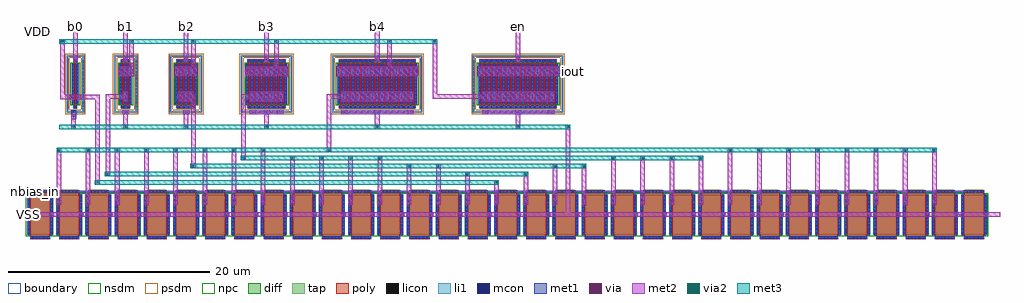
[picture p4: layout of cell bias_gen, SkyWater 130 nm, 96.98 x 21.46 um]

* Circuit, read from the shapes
.subckt bias_gen VDD VSS b0 b1 b2 b3 b4 en iout nbias_in
XM1 VSS nbias_in VSS VSS sky130_fd_pr__nfet_01v8 w=4 l=2 m=2
XM2 VSS nbias_in bg_n4_l2_0/D VSS sky130_fd_pr__nfet_01v8 w=4 l=2 m=16
XM3 bg_n4_l2_13/D b0 bg_sw16_w_37/D VSS sky130_fd_pr__nfet_01v8 w=4 l=0.15
XM4 bg_n4_l2_14/D b1 bg_sw16_w_37/D VSS sky130_fd_pr__nfet_01v8 w=4 l=0.15 m=2
XM5 bg_n4_l2_15/D b2 bg_sw16_w_37/D VSS sky130_fd_pr__nfet_01v8 w=4 l=0.15 m=4
XM6 bg_n4_l2_10/D b3 bg_sw16_w_37/D VSS sky130_fd_pr__nfet_01v8 w=4 l=0.15 m=8
XM7 VSS nbias_in bg_n4_l2_10/D VSS sky130_fd_pr__nfet_01v8 w=4 l=2 m=8
XM8 bg_n4_l2_0/D b4 bg_sw16_w_37/D VSS sky130_fd_pr__nfet_01v8 w=4 l=0.15 m=16
XM9 VSS nbias_in bg_n4_l2_15/D VSS sky130_fd_pr__nfet_01v8 w=4 l=2 m=4
XM10 VSS nbias_in bg_n4_l2_14/D VSS sky130_fd_pr__nfet_01v8 w=4 l=2 m=2
XM11 bg_sw16_w_37/D en iout VSS sky130_fd_pr__nfet_01v8 w=4 l=0.15 m=16
XM12 VSS nbias_in bg_n4_l2_13/D VSS sky130_fd_pr__nfet_01v8 w=4 l=2
.ends

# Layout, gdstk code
import gdstk
lib = gdstk.Library(unit=1e-6, precision=1e-09)
def R(c, l, rs):  # rectangles x0, y0, x1, y1
    for r in rs: c.add(gdstk.rectangle(r[:2], r[2:], *l))
def A(c, l, x, y, w, h, nx, ny, dx, dy):  # array of equal rectangles
    R(c, l, [(x+i*dx, y+j*dy, x+i*dx+w, y+j*dy+h) for i in range(nx) for j in range(ny)])
diff = (65, 20)
tap = (65, 44)
poly = (66, 20)
licon = (66, 44)
li1 = (67, 20)
mcon = (67, 44)
met1 = (68, 20)
via = (68, 44)
met2 = (69, 20)
via2 = (69, 44)
met3 = (70, 20)
nsdm = (93, 44)
psdm = (94, 20)
npc = (95, 20)
boundary = (235, 4)

bg_n4_l2 = lib.new_cell('bg_n4_l2')
R(bg_n4_l2, diff, [(-1.29,-2,1.29,2)])
R(bg_n4_l2, poly, [(-1,-2.44,1,2.44)])
A(bg_n4_l2, licon, -0.765, -2.36, 0.17, 0.17, 5, 2, 0.34, 4.55)
A(bg_n4_l2, licon, -1.23, -1.785, 0.17, 0.17, 1, 11, 0, 0.34)
A(bg_n4_l2, licon, 1.06, -1.785, 0.17, 0.17, 1, 11, 0, 0.34)
R(bg_n4_l2, li1, [(-1,-2.36,1,-2.19), (-1.23,-2.02,-1.06,2.02), (1.06,-2.02,1.23,2.02), (-1,2.19,1,2.36)])
A(bg_n4_l2, mcon, -0.805, -2.36, 0.17, 0.17, 5, 2, 0.36, 4.55)
A(bg_n4_l2, mcon, -1.23, -1.885, 0.17, 0.17, 1, 11, 0, 0.36)
A(bg_n4_l2, mcon, 1.06, -1.885, 0.17, 0.17, 1, 11, 0, 0.36)
R(bg_n4_l2, met1, [(-0.98,-2.39,0.98,-2.16), (-1.26,-2,-1.03,2), (1.03,-2,1.26,2), (-0.98,2.16,0.98,2.39)])
R(bg_n4_l2, nsdm, [(-1.415,-2.125,1.415,2.125)])
R(bg_n4_l2, npc, [(-0.865,-2.46,0.865,-2.09), (-0.865,2.09,0.865,2.46)])
bg_n4_l2.add(gdstk.Label('D', (-1.145,0), layer=67, texttype=5))
bg_n4_l2.add(gdstk.Label('S', (1.145,0), layer=67, texttype=5))
bg_n4_l2.add(gdstk.Label('G', (0,2.275), layer=67, texttype=5))

bg_sw2 = lib.new_cell('bg_sw2')
R(bg_sw2, diff, [(-0.625,-2,0.625,2)])
R(bg_sw2, tap, [(-1.135,-2.87,1.135,-2.7), (-1.135,-2.7,-0.965,2.7), (0.965,-2.7,1.135,2.7), (-1.135,2.7,1.135,2.87)])
R(bg_sw2, poly, [(-0.48,-2.44,0.48,-2.11), (-0.315,-2.11,-0.165,2.11), (0.165,-2.11,0.315,2.11), (-0.48,2.11,0.48,2.44)])
A(bg_sw2, licon, -0.595, -2.87, 0.17, 0.17, 4, 2, 0.34, 5.57)
A(bg_sw2, licon, -1.135, -2.295, 0.17, 0.17, 1, 14, 0, 0.34)
A(bg_sw2, licon, 0.965, -2.295, 0.17, 0.17, 1, 14, 0, 0.34)
A(bg_sw2, licon, -0.565, -1.785, 0.17, 0.17, 3, 11, 0.48, 0.34)
R(bg_sw2, licon, [(-0.325,-2.36,-0.155,-2.19), (0.155,-2.36,0.325,-2.19), (-0.325,2.19,-0.155,2.36), (0.155,2.19,0.325,2.36)])
A(bg_sw2, li1, -0.565, -2.02, 0.17, 4.04, 3, 1, 0.48, 0)
R(bg_sw2, li1, [(-1.135,-2.87,1.135,-2.7), (-1.135,-2.7,-0.965,2.7), (0.965,-2.7,1.135,2.7), (-0.48,-2.36,0.48,-2.19), (-0.48,2.19,0.48,2.36), (-1.135,2.7,1.135,2.87)])
A(bg_sw2, mcon, -0.565, -1.885, 0.17, 0.17, 3, 11, 0.48, 0.36)
R(bg_sw2, mcon, [(-0.325,-2.36,-0.155,-2.19), (0.155,-2.36,0.325,-2.19), (-0.325,2.19,-0.155,2.36), (0.155,2.19,0.325,2.36)])
A(bg_sw2, met1, -0.595, -2, 0.23, 4, 3, 1, 0.48, 0)
R(bg_sw2, met1, [(-0.385,-2.39,-0.095,-2.36), (0.095,-2.39,0.385,-2.36), (-0.48,-2.36,0.48,-2.19), (-0.385,-2.19,-0.095,-2.16), (0.095,-2.19,0.385,-2.16), (-0.385,2.16,-0.095,2.19), (0.095,2.16,0.385,2.19), (-0.48,2.19,0.48,2.36), (-0.385,2.36,-0.095,2.39), (0.095,2.36,0.385,2.39)])
R(bg_sw2, nsdm, [(-0.75,-2.125,0.75,2.125)])
R(bg_sw2, psdm, [(-1.26,-2.995,1.26,-2.575), (-1.26,-2.575,-0.84,2.575), (0.84,-2.575,1.26,2.575), (-1.26,2.575,1.26,2.995)])
R(bg_sw2, npc, [(-0.425,-2.46,0.425,-2.09), (-0.425,2.09,0.425,2.46)])
R(bg_sw2, boundary, [(-1.05,-2.785,1.05,2.785)])
bg_sw2.add(gdstk.Label('B', (0,-2.785), layer=67, texttype=5))
bg_sw2.add(gdstk.Label('D0', (-0.48,0), layer=67, texttype=5))
bg_sw2.add(gdstk.Label('G', (0.24,2.275), layer=67, texttype=5))
bg_sw2.add(gdstk.Label('G', (-0.24,2.275), layer=67, texttype=5))
bg_sw2.add(gdstk.Label('S1', (0,0), layer=67, texttype=5))

bg_sw2_w = lib.new_cell('bg_sw2_w')
R(bg_sw2_w, li1, [(-0.225,-2.87,0.225,-2.7)])
R(bg_sw2_w, mcon, [(-0.085,-2.87,0.085,-2.7)])
R(bg_sw2_w, met1, [(-0.3,-3.01,0.3,-2.56), (-0.225,-1.475,0.225,-1.025), (-0.705,1.025,-0.255,1.475), (0.255,1.025,0.705,1.475), (-0.225,2.16,0.225,2.655)])
R(bg_sw2_w, via, [(-0.075,-2.86,0.075,-2.71), (-0.075,-1.325,0.075,-1.175), (-0.555,1.175,-0.405,1.325), (0.405,1.175,0.555,1.325), (-0.075,2.33,0.075,2.48)])
R(bg_sw2_w, met2, [(-0.3,-3.01,0.3,-2.56), (-0.225,-1.75,0.225,-0.75), (-0.705,0.75,0.705,1.75), (-0.225,2.155,0.225,2.655)])
bg_sw2_w.add(gdstk.Reference(bg_sw2, (0,0)))
bg_sw2_w.add(gdstk.Label('D', (-0.48,1.25), layer=69, texttype=5))
bg_sw2_w.add(gdstk.Label('S', (0,-1.25), layer=69, texttype=5))
bg_sw2_w.add(gdstk.Label('G', (0,2.405), layer=69, texttype=5))
bg_sw2_w.add(gdstk.Label('B', (0,-2.785), layer=69, texttype=5))

bg_sw1 = lib.new_cell('bg_sw1')
R(bg_sw1, diff, [(-0.365,-2,0.365,2)])
R(bg_sw1, tap, [(-0.875,-2.87,0.875,-2.7), (-0.875,-2.7,-0.705,2.7), (0.705,-2.7,0.875,2.7), (-0.875,2.7,0.875,2.87)])
R(bg_sw1, poly, [(-0.165,-2.44,0.165,-2.11), (-0.075,-2.11,0.075,2.11), (-0.165,2.11,0.165,2.44)])
A(bg_sw1, licon, -0.875, -2.295, 0.17, 0.17, 1, 14, 0, 0.34)
A(bg_sw1, licon, 0.705, -2.295, 0.17, 0.17, 1, 14, 0, 0.34)
A(bg_sw1, licon, -0.305, -1.785, 0.17, 0.17, 1, 11, 0, 0.34)
A(bg_sw1, licon, 0.135, -1.785, 0.17, 0.17, 1, 11, 0, 0.34)
R(bg_sw1, licon, [(-0.255,-2.87,-0.085,-2.7), (0.085,-2.87,0.255,-2.7), (-0.085,-2.36,0.085,-2.19), (-0.085,2.19,0.085,2.36), (-0.255,2.7,-0.085,2.87), (0.085,2.7,0.255,2.87)])
R(bg_sw1, li1, [(-0.875,-2.87,0.875,-2.7), (-0.875,-2.7,-0.705,2.7), (0.705,-2.7,0.875,2.7), (-0.165,-2.36,0.165,-2.19), (-0.305,-2.02,-0.135,2.02), (0.135,-2.02,0.305,2.02), (-0.165,2.19,0.165,2.36), (-0.875,2.7,0.875,2.87)])
A(bg_sw1, mcon, -0.305, -1.885, 0.17, 0.17, 1, 11, 0, 0.36)
A(bg_sw1, mcon, 0.135, -1.885, 0.17, 0.17, 1, 11, 0, 0.36)
R(bg_sw1, mcon, [(-0.085,-2.36,0.085,-2.19), (-0.085,2.19,0.085,2.36)])
R(bg_sw1, met1, [(-0.145,-2.39,0.145,-2.16), (-0.335,-2,-0.105,2), (0.105,-2,0.335,2), (-0.145,2.16,0.145,2.39)])
R(bg_sw1, nsdm, [(-0.49,-2.125,0.49,2.125)])
R(bg_sw1, psdm, [(-1,-2.995,1,-2.575), (-1,-2.575,-0.58,2.575), (0.58,-2.575,1,2.575), (-1,2.575,1,2.995)])
R(bg_sw1, npc, [(-0.185,-2.46,0.185,-2.09), (-0.185,2.09,0.185,2.46)])
R(bg_sw1, boundary, [(-0.79,-2.785,0.79,2.785)])
bg_sw1.add(gdstk.Label('B', (0,-2.785), layer=67, texttype=5))
bg_sw1.add(gdstk.Label('D', (-0.22,0), layer=67, texttype=5))
bg_sw1.add(gdstk.Label('S', (0.22,0), layer=67, texttype=5))
bg_sw1.add(gdstk.Label('G', (0,2.275), layer=67, texttype=5))

bg_sw4 = lib.new_cell('bg_sw4')
R(bg_sw4, diff, [(-1.105,-2,1.105,2)])
R(bg_sw4, tap, [(-1.615,-2.87,1.615,-2.7), (-1.615,-2.7,-1.445,2.7), (1.445,-2.7,1.615,2.7), (-1.615,2.7,1.615,2.87)])
A(bg_sw4, poly, -0.795, -2.11, 0.15, 4.22, 4, 1, 0.48, 0)
R(bg_sw4, poly, [(-0.96,-2.44,0.96,-2.11), (-0.96,2.11,0.96,2.44)])
A(bg_sw4, licon, -1.105, -2.87, 0.17, 0.17, 7, 2, 0.34, 5.57)
A(bg_sw4, licon, -0.805, -2.36, 0.17, 0.17, 4, 2, 0.48, 4.55)
A(bg_sw4, licon, -1.615, -2.295, 0.17, 0.17, 1, 14, 0, 0.34)
A(bg_sw4, licon, 1.445, -2.295, 0.17, 0.17, 1, 14, 0, 0.34)
A(bg_sw4, licon, -1.045, -1.785, 0.17, 0.17, 5, 11, 0.48, 0.34)
A(bg_sw4, li1, -1.045, -2.02, 0.17, 4.04, 5, 1, 0.48, 0)
R(bg_sw4, li1, [(-1.615,-2.87,1.615,-2.7), (-1.615,-2.7,-1.445,2.7), (1.445,-2.7,1.615,2.7), (-0.96,-2.36,0.96,-2.19), (-0.96,2.19,0.96,2.36), (-1.615,2.7,1.615,2.87)])
A(bg_sw4, mcon, -0.805, -2.36, 0.17, 0.17, 4, 2, 0.48, 4.55)
A(bg_sw4, mcon, -1.045, -1.885, 0.17, 0.17, 5, 11, 0.48, 0.36)
A(bg_sw4, met1, -0.865, -2.39, 0.29, 0.03, 4, 2, 0.48, 0.2)
A(bg_sw4, met1, -1.075, -2, 0.23, 4, 5, 1, 0.48, 0)
A(bg_sw4, met1, -0.865, 2.16, 0.29, 0.03, 4, 2, 0.48, 0.2)
R(bg_sw4, met1, [(-0.96,-2.36,0.96,-2.19), (-0.96,2.19,0.96,2.36)])
R(bg_sw4, nsdm, [(-1.23,-2.125,1.23,2.125)])
R(bg_sw4, psdm, [(-1.74,-2.995,1.74,-2.575), (-1.74,-2.575,-1.32,2.575), (1.32,-2.575,1.74,2.575), (-1.74,2.575,1.74,2.995)])
R(bg_sw4, npc, [(-0.905,-2.46,0.905,-2.09), (-0.905,2.09,0.905,2.46)])
R(bg_sw4, boundary, [(-1.53,-2.785,1.53,2.785)])
bg_sw4.add(gdstk.Label('B', (0,-2.785), layer=67, texttype=5))
bg_sw4.add(gdstk.Label('D0', (-0.96,0), layer=67, texttype=5))
bg_sw4.add(gdstk.Label('G', (0.72,2.275), layer=67, texttype=5))
bg_sw4.add(gdstk.Label('G', (0.24,2.275), layer=67, texttype=5))
bg_sw4.add(gdstk.Label('G', (-0.24,2.275), layer=67, texttype=5))
bg_sw4.add(gdstk.Label('G', (-0.72,2.275), layer=67, texttype=5))
bg_sw4.add(gdstk.Label('S1', (-0.48,0), layer=67, texttype=5))
bg_sw4.add(gdstk.Label('D2', (0,0), layer=67, texttype=5))
bg_sw4.add(gdstk.Label('S3', (0.48,0), layer=67, texttype=5))

bg_sw4_w = lib.new_cell('bg_sw4_w')
R(bg_sw4_w, li1, [(-0.225,-2.87,0.225,-2.7)])
R(bg_sw4_w, mcon, [(-0.085,-2.87,0.085,-2.7)])
A(bg_sw4_w, met1, -1.185, 1.025, 0.45, 0.45, 3, 1, 0.96, 0)
R(bg_sw4_w, met1, [(-0.3,-3.01,0.3,-2.56), (-0.705,-1.475,-0.255,-1.025), (0.255,-1.475,0.705,-1.025), (-0.225,2.16,0.225,2.655)])
A(bg_sw4_w, via, -1.035, 1.175, 0.15, 0.15, 3, 1, 0.96, 0)
R(bg_sw4_w, via, [(-0.075,-2.86,0.075,-2.71), (-0.555,-1.325,-0.405,-1.175), (0.405,-1.325,0.555,-1.175), (-0.075,2.33,0.075,2.48)])
R(bg_sw4_w, met2, [(-0.3,-3.01,0.3,-2.56), (-0.705,-1.75,0.705,-0.75), (-1.185,0.75,1.185,1.75), (-0.225,2.155,0.225,2.655)])
bg_sw4_w.add(gdstk.Reference(bg_sw4, (0,0)))
bg_sw4_w.add(gdstk.Label('D', (-0.96,1.25), layer=69, texttype=5))
bg_sw4_w.add(gdstk.Label('S', (-0.48,-1.25), layer=69, texttype=5))
bg_sw4_w.add(gdstk.Label('G', (0,2.405), layer=69, texttype=5))
bg_sw4_w.add(gdstk.Label('B', (0,-2.785), layer=69, texttype=5))

bg_sw8 = lib.new_cell('bg_sw8')
R(bg_sw8, diff, [(-2.065,-2,2.065,2)])
R(bg_sw8, tap, [(-2.575,-2.87,2.575,-2.7), (-2.575,-2.7,-2.405,2.7), (2.405,-2.7,2.575,2.7), (-2.575,2.7,2.575,2.87)])
A(bg_sw8, poly, -1.755, -2.11, 0.15, 4.22, 8, 1, 0.48, 0)
R(bg_sw8, poly, [(-1.92,-2.44,1.92,-2.11), (-1.92,2.11,1.92,2.44)])
A(bg_sw8, licon, -1.955, -2.87, 0.17, 0.17, 12, 2, 0.34, 5.57)
A(bg_sw8, licon, -1.765, -2.36, 0.17, 0.17, 8, 2, 0.48, 4.55)
A(bg_sw8, licon, -2.575, -2.295, 0.17, 0.17, 1, 14, 0, 0.34)
A(bg_sw8, licon, 2.405, -2.295, 0.17, 0.17, 1, 14, 0, 0.34)
A(bg_sw8, licon, -2.005, -1.785, 0.17, 0.17, 9, 11, 0.48, 0.34)
A(bg_sw8, li1, -2.005, -2.02, 0.17, 4.04, 9, 1, 0.48, 0)
R(bg_sw8, li1, [(-2.575,-2.87,2.575,-2.7), (-2.575,-2.7,-2.405,2.7), (2.405,-2.7,2.575,2.7), (-1.92,-2.36,1.92,-2.19), (-1.92,2.19,1.92,2.36), (-2.575,2.7,2.575,2.87)])
A(bg_sw8, mcon, -1.765, -2.36, 0.17, 0.17, 8, 2, 0.48, 4.55)
A(bg_sw8, mcon, -2.005, -1.885, 0.17, 0.17, 9, 11, 0.48, 0.36)
A(bg_sw8, met1, -1.825, -2.39, 0.29, 0.03, 8, 2, 0.48, 0.2)
A(bg_sw8, met1, -2.035, -2, 0.23, 4, 9, 1, 0.48, 0)
A(bg_sw8, met1, -1.825, 2.16, 0.29, 0.03, 8, 2, 0.48, 0.2)
R(bg_sw8, met1, [(-1.92,-2.36,1.92,-2.19), (-1.92,2.19,1.92,2.36)])
R(bg_sw8, nsdm, [(-2.19,-2.125,2.19,2.125)])
R(bg_sw8, psdm, [(-2.7,-2.995,2.7,-2.575), (-2.7,-2.575,-2.28,2.575), (2.28,-2.575,2.7,2.575), (-2.7,2.575,2.7,2.995)])
R(bg_sw8, npc, [(-1.865,-2.46,1.865,-2.09), (-1.865,2.09,1.865,2.46)])
R(bg_sw8, boundary, [(-2.49,-2.785,2.49,2.785)])
bg_sw8.add(gdstk.Label('B', (0,-2.785), layer=67, texttype=5))
bg_sw8.add(gdstk.Label('D0', (-1.92,0), layer=67, texttype=5))
bg_sw8.add(gdstk.Label('G', (1.68,2.275), layer=67, texttype=5))
bg_sw8.add(gdstk.Label('G', (1.2,2.275), layer=67, texttype=5))
bg_sw8.add(gdstk.Label('G', (0.72,2.275), layer=67, texttype=5))
bg_sw8.add(gdstk.Label('G', (0.24,2.275), layer=67, texttype=5))
bg_sw8.add(gdstk.Label('G', (-0.24,2.275), layer=67, texttype=5))
bg_sw8.add(gdstk.Label('G', (-0.72,2.275), layer=67, texttype=5))
bg_sw8.add(gdstk.Label('G', (-1.2,2.275), layer=67, texttype=5))
bg_sw8.add(gdstk.Label('G', (-1.68,2.275), layer=67, texttype=5))
bg_sw8.add(gdstk.Label('S1', (-1.44,0), layer=67, texttype=5))
bg_sw8.add(gdstk.Label('D2', (-0.96,0), layer=67, texttype=5))
bg_sw8.add(gdstk.Label('S3', (-0.48,0), layer=67, texttype=5))
bg_sw8.add(gdstk.Label('D4', (0,0), layer=67, texttype=5))
bg_sw8.add(gdstk.Label('S5', (0.48,0), layer=67, texttype=5))
bg_sw8.add(gdstk.Label('D6', (0.96,0), layer=67, texttype=5))
bg_sw8.add(gdstk.Label('S7', (1.44,0), layer=67, texttype=5))

bg_sw8_w = lib.new_cell('bg_sw8_w')
A(bg_sw8_w, li1, -1.57, -2.87, 0.45, 0.17, 3, 1, 1.345, 0)
A(bg_sw8_w, mcon, -1.43, -2.87, 0.17, 0.17, 3, 1, 1.345, 0)
A(bg_sw8_w, met1, -1.645, -3.01, 0.6, 0.45, 3, 1, 1.345, 0)
A(bg_sw8_w, met1, -1.665, -1.475, 0.45, 0.45, 4, 1, 0.96, 0)
A(bg_sw8_w, met1, -2.145, 1.025, 0.45, 0.45, 5, 1, 0.96, 0)
R(bg_sw8_w, met1, [(-0.225,2.16,0.225,2.655)])
A(bg_sw8_w, via, -1.42, -2.86, 0.15, 0.15, 3, 1, 1.345, 0)
A(bg_sw8_w, via, -1.515, -1.325, 0.15, 0.15, 4, 1, 0.96, 0)
A(bg_sw8_w, via, -1.995, 1.175, 0.15, 0.15, 5, 1, 0.96, 0)
R(bg_sw8_w, via, [(-0.075,2.33,0.075,2.48)])
R(bg_sw8_w, met2, [(-1.645,-3.01,1.645,-2.56), (-1.665,-1.75,1.665,-0.75), (-2.145,0.75,2.145,1.75), (-0.225,2.155,0.225,2.655)])
bg_sw8_w.add(gdstk.Reference(bg_sw8, (0,0)))
bg_sw8_w.add(gdstk.Label('D', (-1.92,1.25), layer=69, texttype=5))
bg_sw8_w.add(gdstk.Label('S', (-1.44,-1.25), layer=69, texttype=5))
bg_sw8_w.add(gdstk.Label('G', (0,2.405), layer=69, texttype=5))
bg_sw8_w.add(gdstk.Label('B', (-1.345,-2.785), layer=69, texttype=5))

bg_sw16 = lib.new_cell('bg_sw16')
R(bg_sw16, diff, [(-3.985,-2,3.985,2)])
R(bg_sw16, tap, [(-4.495,-2.87,4.495,-2.7), (-4.495,-2.7,-4.325,2.7), (4.325,-2.7,4.495,2.7), (-4.495,2.7,4.495,2.87)])
A(bg_sw16, poly, -3.675, -2.11, 0.15, 4.22, 16, 1, 0.48, 0)
R(bg_sw16, poly, [(-3.84,-2.44,3.84,-2.11), (-3.84,2.11,3.84,2.44)])
A(bg_sw16, licon, -3.995, -2.87, 0.17, 0.17, 24, 2, 0.34, 5.57)
A(bg_sw16, licon, -3.685, -2.36, 0.17, 0.17, 16, 2, 0.48, 4.55)
A(bg_sw16, licon, -4.495, -2.295, 0.17, 0.17, 1, 14, 0, 0.34)
A(bg_sw16, licon, 4.325, -2.295, 0.17, 0.17, 1, 14, 0, 0.34)
A(bg_sw16, licon, -3.925, -1.785, 0.17, 0.17, 17, 11, 0.48, 0.34)
A(bg_sw16, li1, -3.925, -2.02, 0.17, 4.04, 17, 1, 0.48, 0)
R(bg_sw16, li1, [(-4.495,-2.87,4.495,-2.7), (-4.495,-2.7,-4.325,2.7), (4.325,-2.7,4.495,2.7), (-3.84,-2.36,3.84,-2.19), (-3.84,2.19,3.84,2.36), (-4.495,2.7,4.495,2.87)])
A(bg_sw16, mcon, -3.685, -2.36, 0.17, 0.17, 16, 2, 0.48, 4.55)
A(bg_sw16, mcon, -3.925, -1.885, 0.17, 0.17, 17, 11, 0.48, 0.36)
A(bg_sw16, met1, -3.745, -2.39, 0.29, 0.03, 16, 2, 0.48, 0.2)
A(bg_sw16, met1, -3.955, -2, 0.23, 4, 17, 1, 0.48, 0)
A(bg_sw16, met1, -3.745, 2.16, 0.29, 0.03, 16, 2, 0.48, 0.2)
R(bg_sw16, met1, [(-3.84,-2.36,3.84,-2.19), (-3.84,2.19,3.84,2.36)])
R(bg_sw16, nsdm, [(-4.11,-2.125,4.11,2.125)])
R(bg_sw16, psdm, [(-4.62,-2.995,4.62,-2.575), (-4.62,-2.575,-4.2,2.575), (4.2,-2.575,4.62,2.575), (-4.62,2.575,4.62,2.995)])
R(bg_sw16, npc, [(-3.785,-2.46,3.785,-2.09), (-3.785,2.09,3.785,2.46)])
R(bg_sw16, boundary, [(-4.41,-2.785,4.41,2.785)])
bg_sw16.add(gdstk.Label('B', (0,-2.785), layer=67, texttype=5))
bg_sw16.add(gdstk.Label('D0', (-3.84,0), layer=67, texttype=5))
bg_sw16.add(gdstk.Label('G', (3.6,2.275), layer=67, texttype=5))
bg_sw16.add(gdstk.Label('G', (3.12,2.275), layer=67, texttype=5))
bg_sw16.add(gdstk.Label('G', (2.64,2.275), layer=67, texttype=5))
bg_sw16.add(gdstk.Label('G', (2.16,2.275), layer=67, texttype=5))
bg_sw16.add(gdstk.Label('G', (1.68,2.275), layer=67, texttype=5))
bg_sw16.add(gdstk.Label('G', (1.2,2.275), layer=67, texttype=5))
bg_sw16.add(gdstk.Label('G', (0.72,2.275), layer=67, texttype=5))
bg_sw16.add(gdstk.Label('G', (0.24,2.275), layer=67, texttype=5))
bg_sw16.add(gdstk.Label('G', (-0.24,2.275), layer=67, texttype=5))
bg_sw16.add(gdstk.Label('G', (-0.72,2.275), layer=67, texttype=5))
bg_sw16.add(gdstk.Label('G', (-1.2,2.275), layer=67, texttype=5))
bg_sw16.add(gdstk.Label('G', (-1.68,2.275), layer=67, texttype=5))
bg_sw16.add(gdstk.Label('G', (-2.16,2.275), layer=67, texttype=5))
bg_sw16.add(gdstk.Label('G', (-2.64,2.275), layer=67, texttype=5))
bg_sw16.add(gdstk.Label('G', (-3.12,2.275), layer=67, texttype=5))
bg_sw16.add(gdstk.Label('G', (-3.6,2.275), layer=67, texttype=5))
bg_sw16.add(gdstk.Label('S1', (-3.36,0), layer=67, texttype=5))
bg_sw16.add(gdstk.Label('D2', (-2.88,0), layer=67, texttype=5))
bg_sw16.add(gdstk.Label('S3', (-2.4,0), layer=67, texttype=5))
bg_sw16.add(gdstk.Label('D4', (-1.92,0), layer=67, texttype=5))
bg_sw16.add(gdstk.Label('S5', (-1.44,0), layer=67, texttype=5))
bg_sw16.add(gdstk.Label('D6', (-0.96,0), layer=67, texttype=5))
bg_sw16.add(gdstk.Label('S7', (-0.48,0), layer=67, texttype=5))
bg_sw16.add(gdstk.Label('D8', (0,0), layer=67, texttype=5))
bg_sw16.add(gdstk.Label('S9', (0.48,0), layer=67, texttype=5))
bg_sw16.add(gdstk.Label('D10', (0.96,0), layer=67, texttype=5))
bg_sw16.add(gdstk.Label('S11', (1.44,0), layer=67, texttype=5))
bg_sw16.add(gdstk.Label('D12', (1.92,0), layer=67, texttype=5))
bg_sw16.add(gdstk.Label('S13', (2.4,0), layer=67, texttype=5))
bg_sw16.add(gdstk.Label('D14', (2.88,0), layer=67, texttype=5))
bg_sw16.add(gdstk.Label('S15', (3.36,0), layer=67, texttype=5))

bg_sw16_w = lib.new_cell('bg_sw16_w')
A(bg_sw16_w, li1, -3.49, -2.87, 0.45, 0.17, 3, 1, 3.265, 0)
A(bg_sw16_w, mcon, -3.35, -2.87, 0.17, 0.17, 3, 1, 3.265, 0)
A(bg_sw16_w, met1, -3.565, -3.01, 0.6, 0.45, 3, 1, 3.265, 0)
A(bg_sw16_w, met1, -3.585, -1.475, 0.45, 0.45, 8, 1, 0.96, 0)
A(bg_sw16_w, met1, -4.065, 1.025, 0.45, 0.45, 9, 1, 0.96, 0)
R(bg_sw16_w, met1, [(-0.225,2.16,0.225,2.655)])
A(bg_sw16_w, via, -3.34, -2.86, 0.15, 0.15, 3, 1, 3.265, 0)
A(bg_sw16_w, via, -3.435, -1.325, 0.15, 0.15, 8, 1, 0.96, 0)
A(bg_sw16_w, via, -3.915, 1.175, 0.15, 0.15, 9, 1, 0.96, 0)
R(bg_sw16_w, via, [(-0.075,2.33,0.075,2.48)])
R(bg_sw16_w, met2, [(-3.565,-3.01,3.565,-2.56), (-3.585,-1.75,3.585,-0.75), (-4.065,0.75,4.065,1.75), (-0.225,2.155,0.225,2.655)])
bg_sw16_w.add(gdstk.Reference(bg_sw16, (0,0)))
bg_sw16_w.add(gdstk.Label('D', (-3.84,1.25), layer=69, texttype=5))
bg_sw16_w.add(gdstk.Label('S', (-3.36,-1.25), layer=69, texttype=5))
bg_sw16_w.add(gdstk.Label('G', (0,2.405), layer=69, texttype=5))
bg_sw16_w.add(gdstk.Label('B', (-3.265,-2.785), layer=69, texttype=5))

bias_gen = lib.new_cell('bias_gen')
R(bias_gen, li1, [(5.65,15.13,6,15.3)])
R(bias_gen, mcon, [(5.74,15.13,5.91,15.3)])
A(bias_gen, met1, 3.42, 4.775, 0.45, 0.45, 31, 1, 2.9, 0)
A(bias_gen, met1, 4.14, 6, 0.45, 0.45, 31, 1, 2.9, 0)
R(bias_gen, met1, [(0.97,4.775,1.47,5.225), (93.32,4.775,94.27,5.225), (96.22,4.775,96.67,5.225), (1.52,7.16,96.28,7.39), (5.58,14.5,6.07,15.37), (5.855,15.52,6.145,15.84), (5.445,16.45,5.895,16.9), (6.105,16.45,6.555,16.9), (5.775,20.16,6.225,20.61)])
A(bias_gen, via, 3.57, 4.925, 0.15, 0.15, 32, 1, 2.9, 0)
A(bias_gen, via, 4.29, 6.15, 0.15, 0.15, 31, 1, 2.9, 0)
R(bias_gen, via, [(1.17,4.925,1.32,5.075), (93.97,4.925,94.12,5.075), (96.37,4.925,96.52,5.075), (5.75,14.675,5.9,14.825), (5.595,16.6,5.745,16.75), (6.255,16.6,6.405,16.75), (5.925,20.31,6.075,20.46)])
A(bias_gen, met2, 4.14, 6, 0.45, 5.65, 8, 1, 2.9, 0)
A(bias_gen, met2, 27.34, 6, 0.45, 4.85, 4, 1, 2.9, 0)
A(bias_gen, met2, 59.24, 6, 0.45, 4.85, 4, 1, 2.9, 0)
A(bias_gen, met2, 70.84, 6, 0.45, 5.65, 8, 1, 2.9, 0)
R(bias_gen, met2, [(0.9,4.775,97.88,5.225), (54.75,5.225,55.2,13.95), (38.94,6,39.39,10.05), (41.84,6,42.29,10.05), (44.74,6,45.19,9.25), (47.64,6,48.09,8.45), (50.54,6,50.99,9.25), (53.44,6,53.89,10.05), (56.34,6,56.79,10.05), (8,8,8.45,16.45), (9,8.8,9.45,16.525), (17.5,9.6,17.95,16.975), (22.5,10.4,22.95,16.525), (31,11.2,31.45,16.525), (5.6,13.5,6.05,14.975), (10.775,13.5,11.225,14.99), (16.775,13.5,17.225,14.99), (24.775,13.5,25.225,14.99), (35.775,13.5,36.225,14.99), (49.775,13.5,50.225,14.99), (4.5,16.45,5.895,16.9), (6.105,16.45,8.45,16.9), (9,16.525,11.225,16.975), (22.5,16.525,26.665,16.975), (31,16.525,39.585,16.975), (41.5,16.525,53.585,16.975), (4.5,16.9,4.95,22.45), (41.5,16.975,41.95,22.45), (11.365,18.75,11.815,22.45), (17.5,18.75,17.95,22.45), (25.75,18.75,26.2,22.45), (37,18.75,37.45,22.45), (54.065,19,56,19.5), (5.775,20.16,6.225,24), (10.775,20.655,11.225,24), (16.775,20.655,17.225,24), (24.775,20.655,25.225,24), (35.775,20.655,36.225,24), (49.775,20.655,50.225,24), (1.5,23,3,23.5)])
A(bias_gen, via2, 27.465, 10.525, 0.2, 0.2, 4, 1, 2.9, 0)
A(bias_gen, via2, 59.365, 10.525, 0.2, 0.2, 4, 1, 2.9, 0)
A(bias_gen, via2, 4.265, 11.325, 0.2, 0.2, 8, 1, 2.9, 0)
A(bias_gen, via2, 70.965, 11.325, 0.2, 0.2, 8, 1, 2.9, 0)
R(bias_gen, via2, [(8.125,8.125,8.325,8.325), (47.765,8.125,47.965,8.325), (9.125,8.925,9.325,9.125), (44.865,8.925,45.065,9.125), (50.665,8.925,50.865,9.125), (17.625,9.725,17.825,9.925), (39.065,9.725,39.265,9.925), (41.965,9.725,42.165,9.925), (53.565,9.725,53.765,9.925), (56.465,9.725,56.665,9.925), (22.625,10.525,22.825,10.725), (31.125,11.325,31.325,11.525), (5.725,13.625,5.925,13.825), (10.9,13.625,11.1,13.825), (16.9,13.625,17.1,13.825), (24.9,13.625,25.1,13.825), (35.9,13.625,36.1,13.825), (49.9,13.625,50.1,13.825), (54.875,13.625,55.075,13.825), (4.625,22.125,4.825,22.325), (11.49,22.125,11.69,22.325), (17.625,22.125,17.825,22.325), (25.875,22.125,26.075,22.325), (37.125,22.125,37.325,22.325), (41.625,22.125,41.825,22.325)])
R(bias_gen, met3, [(7.915,8,48.09,8.45), (8.915,8.8,50.99,9.25), (17.415,9.6,56.79,10.05), (22.415,10.4,68.39,10.85), (4.14,11.2,91.59,11.65), (4.425,13.5,55.2,13.95), (4.425,22,41.95,22.45)])
A(bias_gen, nsdm, 3.915, 2.875, 0.07, 4.25, 32, 1, 2.9, 0)
bias_gen.add(gdstk.Reference(bg_n4_l2, (11.2,5)))
bias_gen.add(gdstk.Reference(bg_n4_l2, (8.3,5)))
bias_gen.add(gdstk.Reference(bg_n4_l2, (5.4,5)))
bias_gen.add(gdstk.Reference(bg_n4_l2, (2.5,5)))
bias_gen.add(gdstk.Reference(bg_n4_l2, (19.9,5)))
bias_gen.add(gdstk.Reference(bg_n4_l2, (17,5)))
bias_gen.add(gdstk.Reference(bg_n4_l2, (14.1,5)))
bias_gen.add(gdstk.Reference(bg_n4_l2, (28.6,5)))
bias_gen.add(gdstk.Reference(bg_n4_l2, (25.7,5)))
bias_gen.add(gdstk.Reference(bg_n4_l2, (22.8,5)))
bias_gen.add(gdstk.Reference(bg_n4_l2, (37.3,5)))
bias_gen.add(gdstk.Reference(bg_n4_l2, (34.4,5)))
bias_gen.add(gdstk.Reference(bg_n4_l2, (31.5,5)))
bias_gen.add(gdstk.Reference(bg_n4_l2, (48.9,5)))
bias_gen.add(gdstk.Reference(bg_n4_l2, (46,5)))
bias_gen.add(gdstk.Reference(bg_n4_l2, (43.1,5)))
bias_gen.add(gdstk.Reference(bg_n4_l2, (40.2,5)))
bias_gen.add(gdstk.Reference(bg_n4_l2, (57.6,5)))
bias_gen.add(gdstk.Reference(bg_n4_l2, (54.7,5)))
bias_gen.add(gdstk.Reference(bg_n4_l2, (51.8,5)))
bias_gen.add(gdstk.Reference(bg_n4_l2, (66.3,5)))
bias_gen.add(gdstk.Reference(bg_n4_l2, (63.4,5)))
bias_gen.add(gdstk.Reference(bg_n4_l2, (60.5,5)))
bias_gen.add(gdstk.Reference(bg_n4_l2, (75,5)))
bias_gen.add(gdstk.Reference(bg_n4_l2, (72.1,5)))
bias_gen.add(gdstk.Reference(bg_n4_l2, (69.2,5)))
bias_gen.add(gdstk.Reference(bg_n4_l2, (86.6,5)))
bias_gen.add(gdstk.Reference(bg_n4_l2, (83.7,5)))
bias_gen.add(gdstk.Reference(bg_n4_l2, (80.8,5)))
bias_gen.add(gdstk.Reference(bg_n4_l2, (77.9,5)))
bias_gen.add(gdstk.Reference(bg_n4_l2, (95.3,5)))
bias_gen.add(gdstk.Reference(bg_n4_l2, (92.4,5)))
bias_gen.add(gdstk.Reference(bg_n4_l2, (89.5,5)))
bias_gen.add(gdstk.Reference(bg_sw2_w, (11,18)))
bias_gen.add(gdstk.Reference(bg_sw1, (6,18)))
bias_gen.add(gdstk.Reference(bg_sw4_w, (17,18)))
bias_gen.add(gdstk.Reference(bg_sw8_w, (25,18)))
bias_gen.add(gdstk.Reference(bg_sw16_w, (36,18)))
bias_gen.add(gdstk.Reference(bg_sw16_w, (50,18)))
bias_gen.add(gdstk.Label('nbias_in', (2.02,7.275), layer=68, texttype=5))
bias_gen.add(gdstk.Label('b0', (6,23.75), layer=69, texttype=5))
bias_gen.add(gdstk.Label('b1', (11,23.75), layer=69, texttype=5))
bias_gen.add(gdstk.Label('b2', (17,23.75), layer=69, texttype=5))
bias_gen.add(gdstk.Label('b3', (25,23.75), layer=69, texttype=5))
bias_gen.add(gdstk.Label('b4', (36,23.75), layer=69, texttype=5))
bias_gen.add(gdstk.Label('en', (50,23.75), layer=69, texttype=5))
bias_gen.add(gdstk.Label('iout', (55.5,19.25), layer=69, texttype=5))
bias_gen.add(gdstk.Label('VDD', (2.25,23.25), layer=69, texttype=5))
bias_gen.add(gdstk.Label('VSS', (1.3,5), layer=69, texttype=5))

lib.write_gds('bias_gen.gds')
